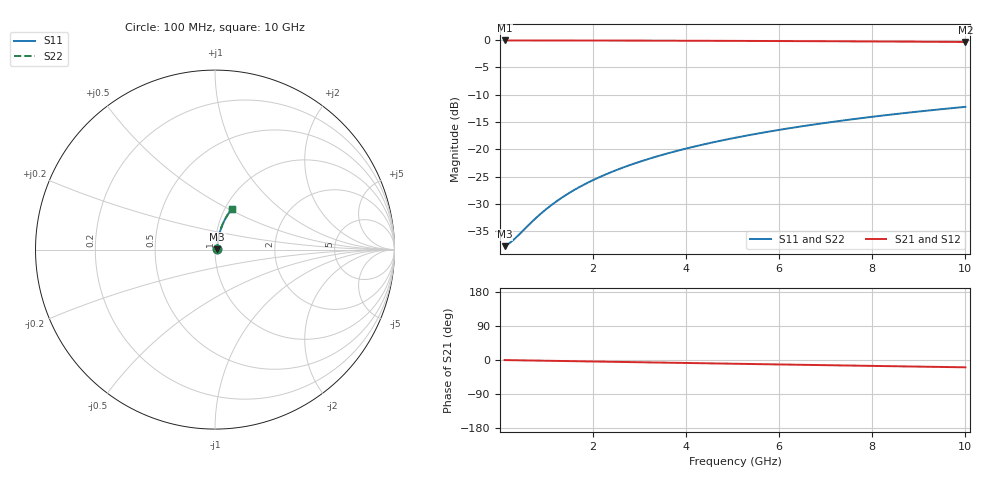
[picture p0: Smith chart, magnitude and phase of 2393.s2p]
# Hz S RI R 50.00
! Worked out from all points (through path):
!   100 points, 100 MHz to 10 GHz, reference 50 ohm
!   highest |S21| = -0.11 dB at 100 MHz (marker M1); lowest = -0.4 dB at 10 GHz (marker M2)
!   group delay of S21, straight-line fit = 5.38 ps
!   lowest |S11| = -37.7 dB at 100 MHz (marker M3), VSWR 1.03, Z = 51.3 + j0.256 ohm
!   |S11| at or under -10 dB: start of sweep to end of sweep
!   |S22| runs from -37.7 to -12.2 dB; largest |S21 - S12| = 0
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1e8  0.0128 0.00249  0.9872 -0.00339  0.9872 -0.00339  0.0128 0.00249
2e8  0.0129 0.00499  0.9871 -0.00679  0.9871 -0.00679  0.0129 0.00499
3e8  0.013 0.00748  0.987 -0.0102  0.987 -0.0102  0.013 0.00748
8e8  0.0137 0.0199  0.9863 -0.0271  0.9863 -0.0271  0.0137 0.0199
9e8  0.0139 0.0224  0.9861 -0.0305  0.9861 -0.0305  0.0139 0.0224
1.1e9  0.0143 0.0274  0.9857 -0.0373  0.9857 -0.0373  0.0143 0.0274
1.4e9  0.015 0.0348  0.9849 -0.0474  0.9849 -0.0474  0.015 0.0348
1.6e9  0.0155 0.0397  0.9844 -0.0542  0.9844 -0.0542  0.0155 0.0397
1.8e9  0.0161 0.0447  0.9837 -0.0609  0.9837 -0.0609  0.0161 0.0447
2.1e9  0.0172 0.0521  0.9826 -0.071  0.9826 -0.071  0.0172 0.0521
2.5e9  0.0188 0.0619  0.9809 -0.0844  0.9809 -0.0844  0.0188 0.0619
2.9e9  0.0207 0.0716  0.9789 -0.0977  0.9789 -0.0977  0.0207 0.0716
3.4e9  0.0234 0.0837  0.9761 -0.1143  0.9761 -0.1143  0.0234 0.0837
3.8e9  0.0259 0.0932  0.9735 -0.1275  0.9735 -0.1275  0.0259 0.0932
4.2e9  0.0286 0.1027  0.9707 -0.1406  0.9707 -0.1406  0.0286 0.1027
4.6e9  0.0316 0.1121  0.9675 -0.1536  0.9675 -0.1536  0.0316 0.1121
5.1e9  0.0356 0.1237  0.9633 -0.1697  0.9633 -0.1697  0.0356 0.1237
5.9e9  0.0429 0.1418  0.9556 -0.1951  0.9556 -0.1951  0.0429 0.1418
6.7e9  0.0511 0.1595  0.947 -0.22  0.947 -0.22  0.0511 0.1595
7.5e9  0.0601 0.1766  0.9375 -0.2444  0.9375 -0.2444  0.0601 0.1766
8.4e9  0.0713 0.195  0.9257 -0.271  0.9257 -0.271  0.0713 0.195
1e10  0.0936 0.2258  0.9022 -0.3164  0.9022 -0.3164  0.0936 0.2258
